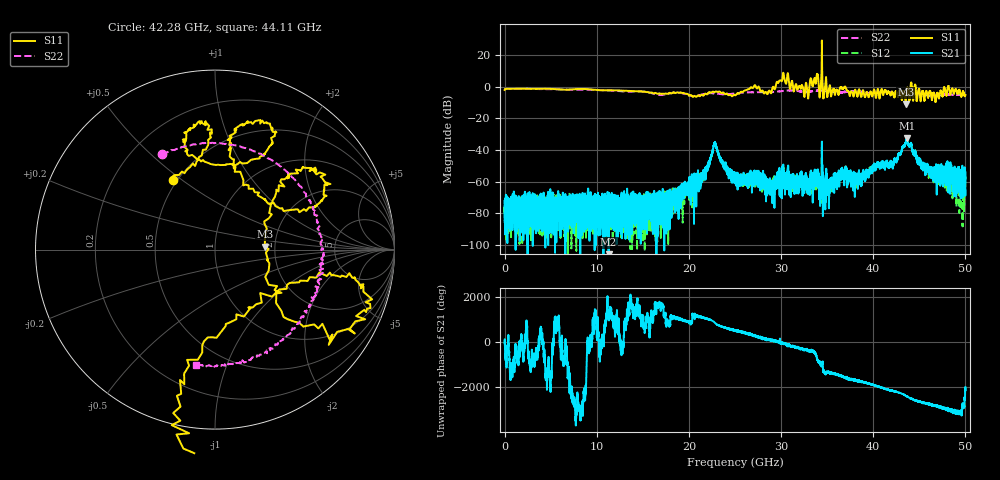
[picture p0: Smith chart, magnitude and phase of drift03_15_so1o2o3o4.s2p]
!Created with skrf (http://scikit-rf.org).
# Hz S RI R 50.0
!freq ReS11 ImS11 ReS21 ImS21 ReS12 ImS12 ReS22 ImS22
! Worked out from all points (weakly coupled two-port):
!   10000 points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, 5.3 MHz to 50 GHz, reference 50 ohm
!   highest |S21| = -32.60 dB at 43.64 GHz (marker M1); lowest = -116.7 dB at 11.29 GHz (marker M2)
!   lowest |S11| = -11.1 dB at 43.52 GHz (marker M3), VSWR 1.77, Z = 88.3 + j3.02 ohm
!   |S11| at or under -10 dB: 43.49002 GHz to 43.54713 GHz (57.12 MHz wide, 0.131 % of centre)
!   |S22| runs from -5.9 to -1.3 dB; largest |S21 - S12| = 0.0065
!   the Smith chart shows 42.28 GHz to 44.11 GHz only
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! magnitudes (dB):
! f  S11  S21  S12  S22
! 5.3 MHz  -2.1  -85.6  -80.5  -2.1
! 8.34 GHz  -1.5  -73.9  -81.4  -1.9
! 11.29 GHz  -2.4  -116.7  -77.8  -2.4
! 16.67 GHz  -4.4  -81.8  -72.0  -5.2
! 21.28 GHz  -5.6  -56.2  -58.8  -5.2
! 22.82 GHz  -3.4  -35.2  -35.6  -4.5
! 23.72 GHz  -3.7  -48.8  -48.4  -4.9
! 25.01 GHz  -5.5  -61.1  -58.3  -4.3
! 27.02 GHz  -0.3  -57.9  -55.3  -3.5
! 28.72 GHz  -2.5  -58.8  -63.7  -3.5
! 30.14 GHz  4.4  -50.4  -62.3  -2.8
! 32.74 GHz  2.0  -59.0  -56.0  -3.3
! 33.34 GHz  2.5  -55.0  -59.9  -2.9
! 33.82 GHz  3.9  -60.7  -59.6  -2.5
! 34.96 GHz  -3.2  -60.5  -61.4  -2.4
! 36.46 GHz  -0.4  -58.1  -55.1  -3.5
! 38.41 GHz  -2.6  -57.7  -57.1  -3.0
! 41.67 GHz  -3.2  -50.9  -50.1  -3.7
! 43.52 GHz  -11.1  -35.2  -35.3  -4.3
! 43.64 GHz  -1.8  -32.6  -33.4  -4.0
! 46.36 GHz  -8.0  -51.4  -56.7  -5.4
! 50 GHz  -5.4  -65.8  -60.6  -5.0
